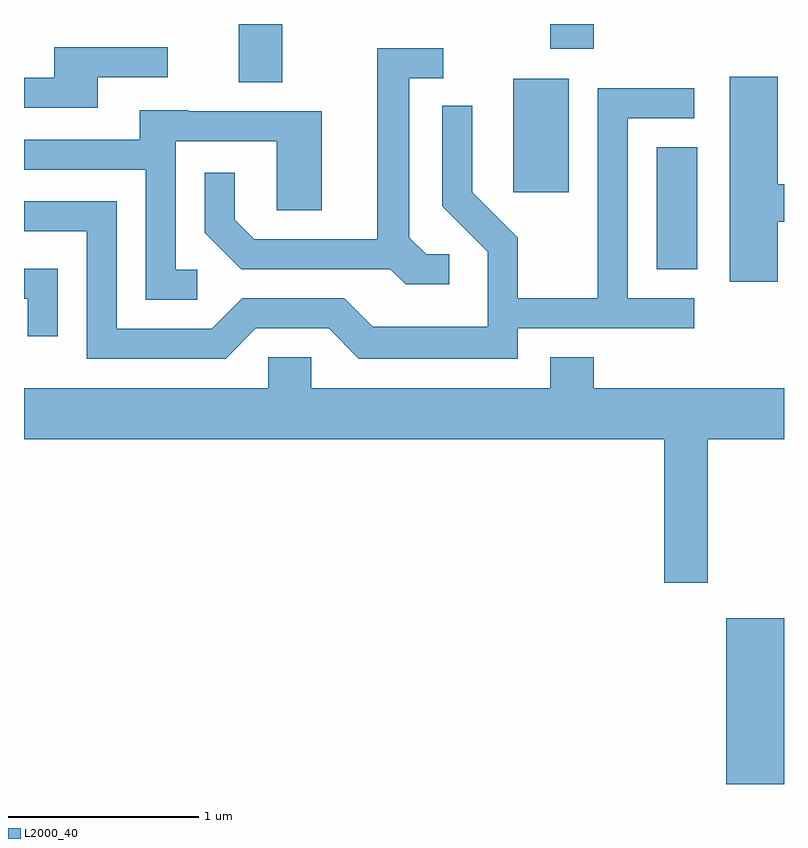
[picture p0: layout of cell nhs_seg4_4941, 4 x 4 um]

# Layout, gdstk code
import gdstk
lib = gdstk.Library(unit=1e-6, precision=1e-09)
def R(c, l, rs):  # rectangles x0, y0, x1, y1
    for r in rs: c.add(gdstk.rectangle(r[:2], r[2:], *l))
def P(c, l, *ps):  # polygons
    for p in ps: c.add(gdstk.Polygon(p, *l))
L2000_40 = (2000, 40)

nhs_seg4_4941 = lib.new_cell('nhs_seg4_4941')
R(nhs_seg4_4941, L2000_40, [(333.306,1343.982,333.611,1344.854), (332.941,1346.691,333.154,1347.334), (332.186,1347.096,332.479,1347.694), (330.741,1347.676,330.969,1347.982), (332.381,1347.851,332.609,1347.982)])
P(nhs_seg4_4941, L2000_40, [(329.999,1347.701),(330.368,1347.701),(330.368,1347.859),(329.771,1347.859),(329.771,1347.699),(329.611,1347.699),(329.611,1347.541),(329.999,1347.541)],
  [(331.848,1346.769),(331.727,1346.769),(331.639,1346.857),(331.639,1347.696),(331.818,1347.696),(331.818,1347.854),(331.471,1347.854),(331.471,1346.849),(330.822,1346.849),(330.719,1346.952),(330.719,1347.198),(330.561,1347.198),(330.561,1346.884),(330.754,1346.691),(331.539,1346.691),(331.619,1346.611),(331.848,1346.611)],
  [(333.579,1346.941),(333.611,1346.941),(333.611,1347.139),(333.579,1347.139),(333.579,1347.704),(333.326,1347.704),(333.326,1346.626),(333.579,1346.626)],
  [(330.832,1346.381),(331.214,1346.381),(331.374,1346.221),(332.209,1346.221),(332.209,1346.381),(333.138,1346.381),(333.138,1346.539),(332.789,1346.539),(332.789,1347.486),(333.138,1347.486),(333.138,1347.644),(332.631,1347.644),(332.631,1346.539),(332.209,1346.539),(332.209,1346.857),(331.969,1347.097),(331.969,1347.553),(331.811,1347.553),(331.811,1347.024),(332.051,1346.784),(332.051,1346.389),(331.447,1346.389),(331.297,1346.539),(330.759,1346.539),(330.599,1346.379),(330.099,1346.379),(330.099,1347.049),(329.611,1347.049),(329.611,1346.891),(329.941,1346.891),(329.941,1346.221),(330.672,1346.221)],
  [(330.523,1346.689),(330.409,1346.689),(330.409,1347.366),(330.941,1347.366),(330.941,1347.001),(331.179,1347.001),(331.179,1347.524),(330.475,1347.524),(330.475,1347.529),(330.221,1347.529),(330.221,1347.374),(329.611,1347.374),(329.611,1347.216),(330.251,1347.216),(330.251,1346.531),(330.523,1346.531)],
  [(329.789,1346.694),(329.611,1346.694),(329.611,1346.536),(329.631,1346.536),(329.631,1346.338),(329.789,1346.338)],
  [(333.209,1345.796),(333.611,1345.796),(333.611,1346.064),(332.609,1346.064),(332.609,1346.229),(332.381,1346.229),(332.381,1346.064),(331.124,1346.064),(331.124,1346.229),(330.896,1346.229),(330.896,1346.064),(329.611,1346.064),(329.611,1345.796),(332.981,1345.796),(332.981,1345.041),(333.209,1345.041)])

lib.write_gds('nhs_seg4_4941.gds')
